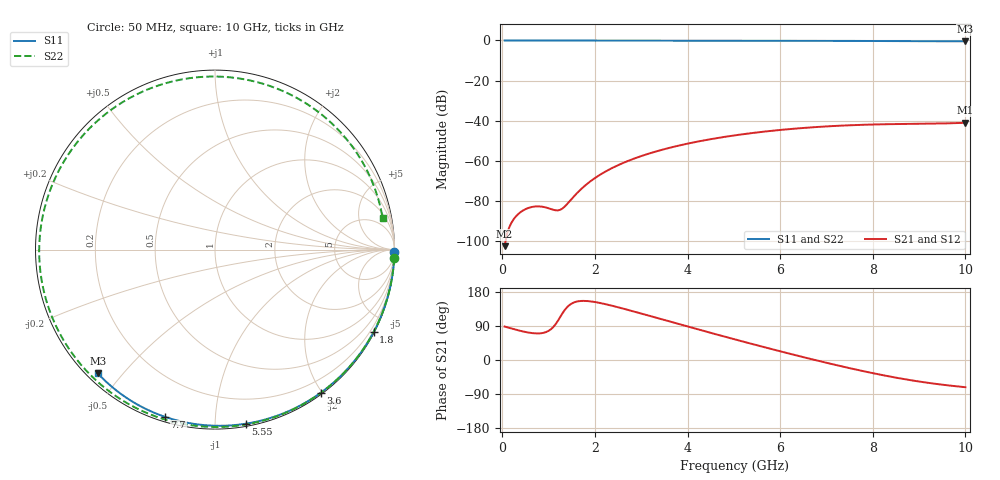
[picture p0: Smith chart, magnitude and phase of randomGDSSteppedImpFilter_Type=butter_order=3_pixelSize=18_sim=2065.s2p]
! freq	dB(S11)	phase(S11)	dB(S12)	phase(S12)
!  dB(S21)	phase(S21)	dB(S22)	phase(S22)
!S-par simulation data
#  GHz  S  DB  R 50
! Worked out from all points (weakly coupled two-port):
!   200 points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, 50 MHz to 10 GHz, reference 50 ohm
!   highest |S21| = -41.06 dB at 10 GHz (marker M1); lowest = -102.6 dB at 50 MHz (marker M2)
!   lowest |S11| = -0.4 dB at 10 GHz (marker M3), VSWR 38.82, Z = 1.53 - j21.5 ohm
!   |S11| at or under -10 dB: nowhere
!   |S22| runs from -0.4 to 0.0 dB; largest |S21 - S12| = 0
!   S11 on the Smith chart (normalised r, x): 50 MHz: open; 1.8 GHz: 0.04, -4.10; 3.6 GHz: 0.02, -1.98; 5.55 GHz: 0.02, -1.19; 7.7 GHz: 0.02, -0.74; 10 GHz: 0.03, -0.43
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0.05  -0.00 -0.8  -102.60 88.3  -102.60 88.3  -0.00 -2.8
0.4  -0.01 -6.2  -85.52 76.6  -85.52 76.6  -0.03 -22.2
0.8  -0.02 -12.3  -82.77 70.2  -82.77 70.2  -0.06 -43.6
1.1  -0.02 -16.9  -84.44 86.9  -84.44 86.9  -0.07 -58.9
1.45  -0.03 -22.2  -80.28 145.1  -80.28 145.1  -0.09 -75.7
1.75  -0.03 -26.7  -73.12 156.0  -73.12 156.0  -0.10 -89.2
1.8  -0.03 -27.4  -72.12 155.8  -72.12 155.8  -0.10 -91.3
2.1  -0.04 -31.9  -67.13 150.7  -67.13 150.7  -0.11 -103.8
2.45  -0.05 -37.0  -62.75 140.7  -62.75 140.7  -0.12 -117.4
2.9  -0.06 -43.6  -58.47 126.0  -58.47 126.0  -0.13 -133.6
3.4  -0.07 -50.8  -54.84 108.9  -54.84 108.9  -0.15 -150.1
3.6  -0.07 -53.6  -53.61 102.1  -53.61 102.1  -0.15 -156.4
4.3  -0.09 -63.3  -50.07 78.3  -50.07 78.3  -0.18 -177.4
5.05  -0.11 -73.4  -47.23 53.5  -47.23 53.5  -0.21 161.3
5.55  -0.13 -80.0  -45.74 37.3  -45.74 37.3  -0.23 147.2
6.15  -0.15 -87.6  -44.31 18.3  -44.31 18.3  -0.26 130.4
6.7  -0.18 -94.5  -43.31 1.5  -43.31 1.5  -0.28 114.6
7.2  -0.21 -100.7  -42.62 -13.1  -42.62 -13.1  -0.30 99.9
7.7  -0.24 -106.7  -42.13 -26.9  -42.13 -26.9  -0.32 84.8
8.35  -0.29 -114.4  -41.75 -43.2  -41.75 -43.2  -0.35 64.5
9.25  -0.37 -124.8  -41.48 -61.2  -41.48 -61.2  -0.39 35.4
10  -0.45 -133.4  -41.06 -71.8  -41.06 -71.8  -0.44 10.6
